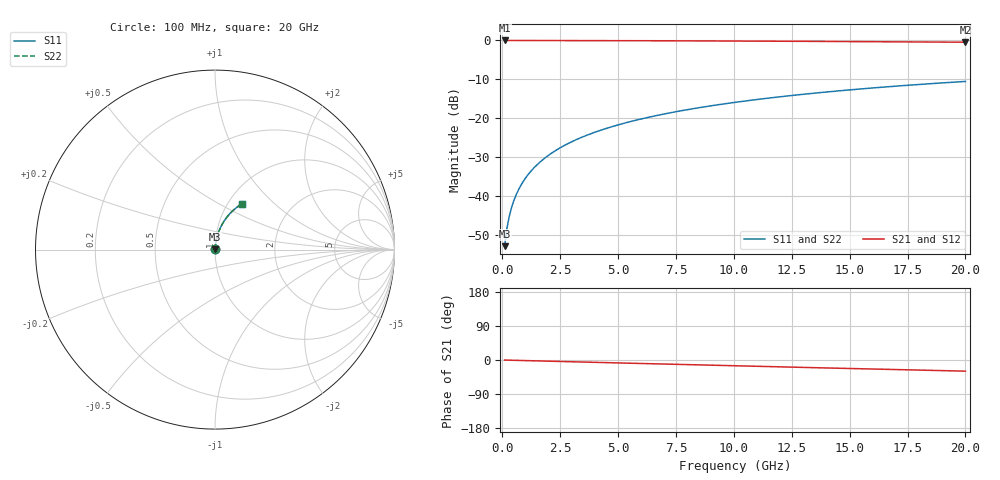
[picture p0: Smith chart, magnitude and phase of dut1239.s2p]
! Touchstone file exported from HFSS 2026.1.0
!  File:  C:/ffzhzh/LocalFiles/Ansys_Project_Files/temp_train_BSMRDL_1239_1783177130_55132.aedt
!  Generated:  11:00:02 PM Jul  4, 2026
!  Design:  BSMRDL
!  Project:  temp_train_BSMRDL_1239_1783177130_55132
! Variables:
!  h_bsmrdl = 4.71um
!  h_ox = 20um
!  h_rdl = 5um
!  h_sub = 80um
!  h_tmrdl = 5um
!  h_tsv = 80um
!  h_via = 3um
!  l_bsmrdl = 388.39um
!  l_sub = 788.39um
!  l_tmrdl = 200um
!  m_sub = 200um
!  pitch = 57um
!  r_tsv = 6um
!  s_tmrdl = 10um
!  w_bsmrdl = 23.57um
!  w_sub = 500um
!  w_tmrdl = 12um
!  x_tsv_center1 = 206um
!  x_tsv_center2 = 617.96um
!  x_tsv_center3 = 829.96um
!  x_tsv_center4 = 1241.92um
!  x_tsv_center5 = 1453.92um
!  x_tsv_center6 = 1865.88um
# GHz S MA R 50.000000
! Terminal data exported
! Port[1] = BSM_RDL1_1_T1
! Port[2] = BSM_RDL1_1_T2
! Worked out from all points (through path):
!   200 points, 100 MHz to 20 GHz, reference 50 ohm
!   highest |S21| = -0.01 dB at 100 MHz (marker M1); lowest = -0.5 dB at 20 GHz (marker M2)
!   group delay of S21, straight-line fit = 4.09 ps
!   lowest |S11| = -52.8 dB at 100 MHz (marker M3), VSWR 1.00, Z = 50.1 + j0.18 ohm
!   |S11| at or under -10 dB: start of sweep to end of sweep
!   |S22| runs from -52.8 to -10.5 dB; largest |S21 - S12| = 5.4e-15
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0.1  0.002288 51.8  0.9986 -0.2  0.9986 -0.2  0.002288 51.8
! Gamma 0 0 0 0
! Port Impedance 50 0 50 0
0.2  0.003862 67.0  0.9985 -0.3  0.9985 -0.3  0.003862 67.0
0.3  0.005512 72.9  0.9984 -0.5  0.9984 -0.5  0.005512 72.9
0.4  0.007163 76.0  0.9983 -0.6  0.9983 -0.6  0.007162 76.0
0.5  0.00881 78.0  0.9983 -0.8  0.9983 -0.8  0.008809 78.0
0.7  0.0121 80.3  0.9982 -1.1  0.9982 -1.1  0.0121 80.3
0.8  0.01375 81.0  0.9981 -1.3  0.9981 -1.3  0.01375 81.0
1  0.01706 82.0  0.998 -1.6  0.998 -1.6  0.01706 82.0
1.2  0.02037 82.6  0.9979 -1.9  0.9979 -1.9  0.02037 82.6
1.4  0.02368 82.9  0.9978 -2.2  0.9978 -2.2  0.02368 82.9
1.7  0.02866 83.1  0.9976 -2.7  0.9976 -2.7  0.02865 83.1
2  0.03362 83.1  0.9973 -3.1  0.9973 -3.1  0.03362 83.1
2.7  0.04516 82.7  0.9966 -4.2  0.9966 -4.2  0.04516 82.7
3.5  0.05823 81.8  0.9955 -5.4  0.9955 -5.4  0.05823 81.8
4.2  0.06956 80.9  0.9945 -6.5  0.9945 -6.5  0.06956 80.9
5  0.08238 79.9  0.9932 -7.7  0.9932 -7.7  0.08238 79.9
6.8  0.1108 77.4  0.9897 -10.4  0.9897 -10.4  0.1108 77.4
8.3  0.1339 75.3  0.9863 -12.7  0.9863 -12.7  0.1339 75.3
10.1  0.1612 72.8  0.9818 -15.3  0.9818 -15.3  0.1612 72.8
13.4  0.2093 68.3  0.972 -20.1  0.972 -20.1  0.2093 68.3
16.7  0.2549 63.7  0.9605 -24.8  0.9605 -24.8  0.2549 63.7
20  0.2976 59.3  0.9478 -29.4  0.9478 -29.4  0.2976 59.3
